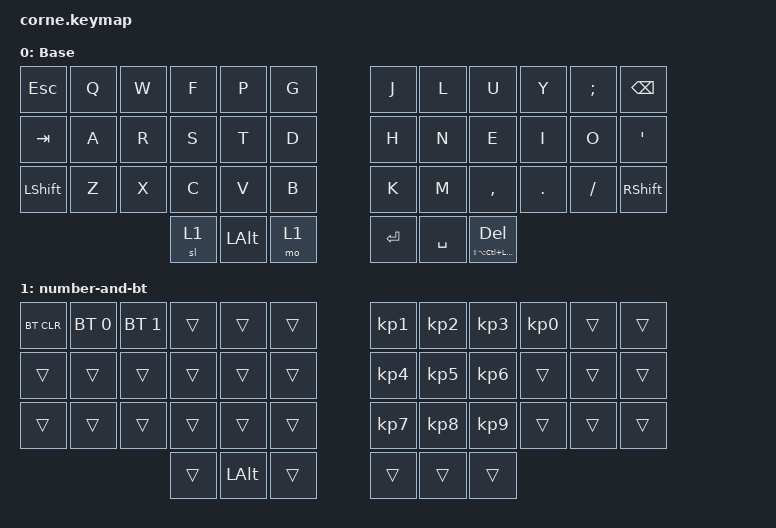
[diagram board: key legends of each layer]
/*
 * Copyright (c) 2020 The ZMK Contributors
 *
 * SPDX-License-Identifier: MIT
 */

#include <behaviors.dtsi>
#include <dt-bindings/zmk/bt.h>
#include <dt-bindings/zmk/keys.h>

&caps_word { continue-list = <UNDERSCORE BACKSPACE DELETE MINUS>; };

/ {
    combos {
        compatible = "zmk,combos";

        caps_word {
            bindings = <&caps_word>;
            key-positions = <24 35>;
        };

        copy {
            bindings = <&kp LG(C)>;
            key-positions = <27 26>;
        };

        paste {
            bindings = <&kp LG(V)>;
            key-positions = <28 27>;
        };

        cut {
            bindings = <&kp LG(X)>;
            key-positions = <25 26>;
        };

        num1 {
            bindings = <&kp N1>;
            key-positions = <1 13>;
            layers = <0>;
            require-prior-idle-ms = <50>;
        };

        num2 {
            bindings = <&kp N2>;
            key-positions = <2 14>;
            layers = <0>;
            require-prior-idle-ms = <50>;
        };

        num3 {
            bindings = <&kp N3>;
            key-positions = <3 15>;
            layers = <0>;
            require-prior-idle-ms = <50>;
        };

        num4 {
            bindings = <&kp N4>;
            key-positions = <4 16>;
            layers = <0>;
            require-prior-idle-ms = <50>;
        };

        num5 {
            bindings = <&kp N5>;
            key-positions = <5 17>;
            layers = <0>;
            require-prior-idle-ms = <50>;
        };

        num6 {
            bindings = <&kp N6>;
            key-positions = <6 18>;
            layers = <0>;
            require-prior-idle-ms = <50>;
        };

        num7 {
            bindings = <&kp N7>;
            key-positions = <7 19>;
            layers = <0>;
            require-prior-idle-ms = <50>;
        };

        num8 {
            bindings = <&kp N8>;
            key-positions = <8 20>;
            layers = <0>;
            require-prior-idle-ms = <50>;
        };

        num9 {
            bindings = <&kp N9>;
            key-positions = <9 21>;
            layers = <0>;
            require-prior-idle-ms = <50>;
        };

        num0 {
            bindings = <&kp N0>;
            key-positions = <10 22>;
            layers = <0>;
            require-prior-idle-ms = <50>;
        };

        arw_left {
            bindings = <&kp LEFT>;
            key-positions = <30 31>;
        };

        arw_dwn {
            bindings = <&kp DOWN>;
            key-positions = <31 32>;
        };

        arw_up {
            bindings = <&kp UP>;
            key-positions = <32 33>;
        };

        arw_rght {
            bindings = <&kp RIGHT>;
            key-positions = <33 34>;
        };
    };

    behaviors {
        as_ht: autoshift_hold_tap {
            compatible = "zmk,behavior-hold-tap";
            #binding-cells = <2>;
            tapping-term-ms = <200>;
            bindings = <&shifted>, <&kp>;
        };

        hmr: hmr {
            compatible = "zmk,behavior-hold-tap";
            bindings = <&kp>, <&kp>;

            #binding-cells = <2>;
            tapping-term-ms = <240>;
            quick-tap-ms = <175>;
            flavor = "balanced";
            hold-trigger-key-positions = <0 1 2 3 4 5 12 13 14 15 16 17 24 25 26 27 28 29 36 37 38>;
            hold-trigger-on-release;
            require-prior-idle-ms = <150>;
        };

        hml: hml {
            compatible = "zmk,behavior-hold-tap";
            bindings = <&kp>, <&kp>;

            #binding-cells = <2>;
            tapping-term-ms = <240>;
            quick-tap-ms = <175>;
            require-prior-idle-ms = <150>;
            flavor = "balanced";
            hold-trigger-key-positions = <6 7 8 9 10 11 18 19 20 21 22 23 30 31 32 33 34 35 39 40 41>;
            hold-trigger-on-release;
        };

        ntild: ntild {
            compatible = "zmk,behavior-mod-morph";
            bindings = <&ntil>, <&ntild_cap>;

            #binding-cells = <0>;
            mods = <(MOD_LSFT)>;
        };
    };

    macros {
        shifted: macro_shifted_kp {
            #binding-cells = <1>;
            compatible = "zmk,behavior-macro-one-param";
            bindings =
                <&macro_press>,
                <&kp LSHFT &macro_param_1to1>,
                <&macro_tap>,
                <&kp MACRO_PLACEHOLDER>,
                <&macro_release>,
                <&kp LSHFT>;
        };

        as: autoshift {
            compatible = "zmk,behavior-macro-one-param";
            #binding-cells = <1>;
            bindings =
                <&macro_press>,
                <&macro_param_1to1 &macro_param_1to2 &as_ht MACRO_PLACEHOLDER MACRO_PLACEHOLDER>,
                <&macro_pause_for_release>,
                <&macro_release>,
                <&macro_param_1to1 &macro_param_1to2 &as_ht MACRO_PLACEHOLDER MACRO_PLACEHOLDER>;
        };

        ntil: uc_ntil {
            compatible = "zmk,behavior-macro";
            #binding-cells = <0>;
            bindings = <&macro_tap>, <&kp LS(GRAVE)>, <&macro_tap>, <&kp N>;

            wait-ms = <0>;
        };

        ntild_cap: uc_ntild_cap {
            compatible = "zmk,behavior-macro";
            #binding-cells = <0>;
            bindings =
                <&macro_press>,
                <&kp LEFT_SHIFT>,
                <&macro_tap>,
                <&kp LS(GRAVE)>,
                <&macro_tap>,
                <&kp N>,
                <&macro_release>,
                <&kp LEFT_SHIFT>;
        };

        dir_dquot: dir_dquot {
            compatible = "zmk,behavior-macro";
            #binding-cells = <0>;
            bindings = <&kp DQT &kp SPACE>;
        };

        dir_squot: dir_squot {
            compatible = "zmk,behavior-macro";
            #binding-cells = <0>;
            bindings = <&kp SQT &kp SPACE>;
        };

        dir_btck: dir_btck {
            compatible = "zmk,behavior-macro";
            #binding-cells = <0>;
            bindings = <&kp GRAVE &kp SPACE>;
        };

        dongle_boot: dongle_boot {
            compatible = "zmk,behavior-macro";
            #binding-cells = <0>;
            bindings = <&bootloader>;
        };

        dir_tilde: dir_tilde {
            compatible = "zmk,behavior-macro";
            #binding-cells = <0>;
            bindings = <&kp TILDE &kp SPACE>;
        };
    };

    keymap {
        compatible = "zmk,keymap";

        qwerty_layer {
            // -----------------------------------------------------------------------------------------
            // |  TAB |  Q  |  W  |  E  |  R  |  T  |   |  Y  |  U   |  I  |  O  |  P  | BKSP |
            // | CTRL |  A  |  S  |  D  |  F  |  G  |   |  H  |  J   |  K  |  L  |  ;  |  '   |
            // | SHFT |  Z  |  X  |  C  |  V  |  B  |   |  N  |  M   |  ,  |  .  |  /  | ESC  |
            //                    | GUI | LWR | SPC |   | ENT | RSE  | ALT |

            display-name = "Base";
            bindings = <
&kp ESCAPE  &kp Q  &kp W  &kp F  &kp P         &kp G    &kp J      &kp L      &kp U                         &kp Y    &kp SEMICOLON  &kp BACKSPACE
&kp TAB     &kp A  &kp R  &kp S  &kp T         &kp D    &kp H      &kp N      &kp E                         &kp I    &kp O          &kp SQT
&kp LSHFT   &kp Z  &kp X  &kp C  &kp V         &kp B    &kp K      &kp M      &kp COMMA                     &kp DOT  &kp FSLH       &kp RIGHT_SHIFT
                          &sl 1  &kp LEFT_ALT  &mo 1    &kp ENTER  &kp SPACE  &mt LS(LA(LC(LEFT_GUI))) DEL
            >;
        };

        number-and-bt {
            bindings = <
&bt BT_CLR  &bt BT_SEL 0  &bt BT_SEL 1  &trans  &trans        &trans    &kp KP_NUMBER_1  &kp KP_NUMBER_2  &kp KP_NUMBER_3  &kp KP_NUMBER_0  &trans  &trans
&trans      &trans        &trans        &trans  &trans        &trans    &kp KP_NUMBER_4  &kp KP_NUMBER_5  &kp KP_NUMBER_6  &trans           &trans  &trans
&trans      &trans        &trans        &trans  &trans        &trans    &kp KP_NUMBER_7  &kp KP_NUMBER_8  &kp KP_NUMBER_9  &trans           &trans  &trans
                                        &trans  &kp LEFT_ALT  &trans    &trans           &trans           &trans
            >;
        };
    };

    conditional_layers {
        compatible = "zmk,conditional-layers";

        SYS {
            if-layers = <1 1>;
            then-layer = <1>;
        };

        SYS_REV {
            if-layers = <1 1>;
            then-layer = <1>;
        };
    };
};
